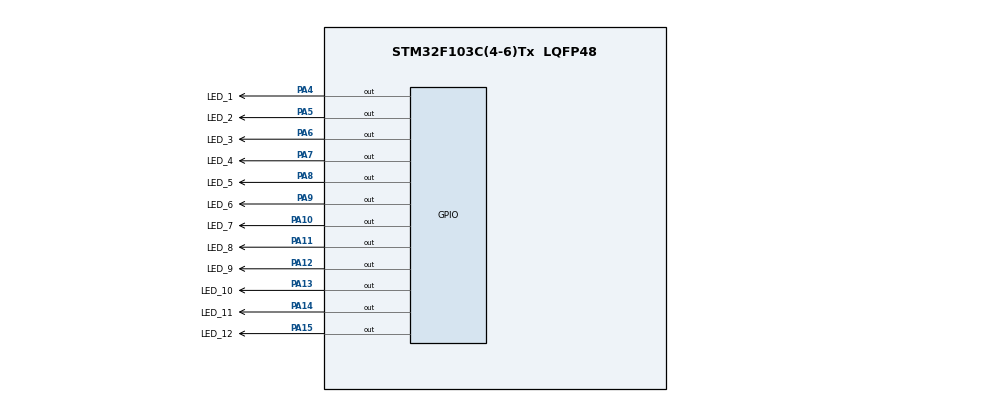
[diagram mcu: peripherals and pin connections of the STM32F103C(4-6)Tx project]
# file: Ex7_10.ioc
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Mcu.Family=STM32F1
Mcu.Name=STM32F103C(4-6)Tx
Mcu.Package=LQFP48
NVIC.PriorityGroup=NVIC_PRIORITYGROUP_4
PA10.GPIO_Label=LED_7
PA10.Signal=GPIO_Output
PA11.GPIO_Label=LED_8
PA11.Signal=GPIO_Output
PA12.GPIO_Label=LED_9
PA12.Signal=GPIO_Output
PA13.GPIO_Label=LED_10
PA13.Signal=GPIO_Output
PA14.GPIO_Label=LED_11
PA14.Signal=GPIO_Output
PA15.GPIO_Label=LED_12
PA15.Signal=GPIO_Output
PA4.GPIO_Label=LED_1
PA4.Signal=GPIO_Output
PA5.GPIO_Label=LED_2
PA5.Signal=GPIO_Output
PA6.GPIO_Label=LED_3
PA6.Signal=GPIO_Output
PA7.GPIO_Label=LED_4
PA7.Signal=GPIO_Output
PA8.GPIO_Label=LED_5
PA8.Signal=GPIO_Output
PA9.GPIO_Label=LED_6
PA9.Signal=GPIO_Output
ProjectManager.HeapSize=0x200
ProjectManager.StackSize=0x400
ProjectManager.TargetToolchain=STM32CubeIDE
RCC.APB1Freq_Value=8000000
RCC.APB2Freq_Value=8000000
VP_SYS_VS_ND.Mode=No_Debug
board=custom

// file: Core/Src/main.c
/* USER CODE BEGIN Header */
/**
  ******************************************************************************
  * @file           : main.c
  * @brief          : Main program body
  ******************************************************************************
  * @attention
  *
  * <h2><center>&copy; Copyright (c) 2025 STMicroelectronics.
  * All rights reserved.</center></h2>
  *
  * This software component is licensed by ST under BSD 3-Clause license,
  * the "License"; You may not use this file except in compliance with the
  * License. You may obtain a copy of the License at:
  *                        opensource.org/licenses/BSD-3-Clause
  *
  ******************************************************************************
  */
/* USER CODE END Header */
#include "main.h"

/* USER CODE BEGIN PV */
uint16_t led[12] =
{   LED_1_Pin,
	LED_2_Pin,
	LED_3_Pin,
	LED_4_Pin,
	LED_5_Pin,
	LED_6_Pin,
	LED_7_Pin,
	LED_8_Pin,
	LED_9_Pin,
	LED_10_Pin,
	LED_11_Pin,
	LED_12_Pin
};
/* USER CODE END PV */

void SystemClock_Config(void);
static void MX_GPIO_Init(void);

/* USER CODE BEGIN 0 */
void clearAllClock()
{
	GPIOA->ODR &= ~(0xFFF);
}
void setNumberOnClock(int num)
{

    HAL_GPIO_WritePin(GPIOA, led[num], SET);

}
void clearNumberOnClock(int num)
{
    HAL_GPIO_WritePin(GPIOA, led[num], RESET);
}
/* USER CODE END 0 */

int main(void)
{

  /* MCU Configuration--------------------------------------------------------*/

  /* Reset of all peripherals, Initializes the Flash interface and the Systick. */
  HAL_Init();

  /* Configure the system clock */
  SystemClock_Config();

  /* Initialize all configured peripherals */
  MX_GPIO_Init();

  /* Infinite loop */
  /* USER CODE BEGIN WHILE */
//6h47
  int second = 0;
  int minute = 47;
  int hour   = 3;
  setNumberOnClock(second/5);
  setNumberOnClock(minute/5);
  setNumberOnClock(hour);

  while (1)
  {
      clearNumberOnClock(minute/5);
      clearNumberOnClock(hour);
	  clearNumberOnClock(second/5);
      second++;
	  if (second >= 60) {
		  second = 0;
          minute++;

	      if ((minute)  >= 60) {
	    	  minute =  0;
	    	  hour = (hour+1)%12;
	      }
	  }

	  setNumberOnClock(hour);
	  setNumberOnClock(minute/5);
	  setNumberOnClock(second/5);
	  HAL_Delay(10);
  }
  /* USER CODE END 3 */
}

void SystemClock_Config(void)
{
  RCC_OscInitTypeDef RCC_OscInitStruct = {0};
  RCC_ClkInitTypeDef RCC_ClkInitStruct = {0};

  /** Initializes the RCC Oscillators according to the specified parameters
  * in the RCC_OscInitTypeDef structure.
  */
  RCC_OscInitStruct.OscillatorType = RCC_OSCILLATORTYPE_HSI;
  RCC_OscInitStruct.HSIState = RCC_HSI_ON;
  RCC_OscInitStruct.HSICalibrationValue = RCC_HSICALIBRATION_DEFAULT;
  RCC_OscInitStruct.PLL.PLLState = RCC_PLL_NONE;
  if (HAL_RCC_OscConfig(&RCC_OscInitStruct) != HAL_OK)
  {
    Error_Handler();
  }
  /** Initializes the CPU, AHB and APB buses clocks
  */
  RCC_ClkInitStruct.ClockType = RCC_CLOCKTYPE_HCLK|RCC_CLOCKTYPE_SYSCLK
                              |RCC_CLOCKTYPE_PCLK1|RCC_CLOCKTYPE_PCLK2;
  RCC_ClkInitStruct.SYSCLKSource = RCC_SYSCLKSOURCE_HSI;
  RCC_ClkInitStruct.AHBCLKDivider = RCC_SYSCLK_DIV1;
  RCC_ClkInitStruct.APB1CLKDivider = RCC_HCLK_DIV1;
  RCC_ClkInitStruct.APB2CLKDivider = RCC_HCLK_DIV1;

  if (HAL_RCC_ClockConfig(&RCC_ClkInitStruct, FLASH_LATENCY_0) != HAL_OK)
  {
    Error_Handler();
  }
}

static void MX_GPIO_Init(void)
{
  GPIO_InitTypeDef GPIO_InitStruct = {0};

  /* GPIO Ports Clock Enable */
  __HAL_RCC_GPIOA_CLK_ENABLE();

  /*Configure GPIO pin Output Level */
  HAL_GPIO_WritePin(GPIOA, LED_1_Pin|LED_2_Pin|LED_3_Pin|LED_4_Pin
                          |LED_5_Pin|LED_6_Pin|LED_7_Pin|LED_8_Pin
                          |LED_9_Pin|LED_10_Pin|LED_11_Pin|LED_12_Pin, GPIO_PIN_RESET);

  /*Configure GPIO pins : LED_1_Pin LED_2_Pin LED_3_Pin LED_4_Pin
                           LED_5_Pin LED_6_Pin LED_7_Pin LED_8_Pin
                           LED_9_Pin LED_10_Pin LED_11_Pin LED_12_Pin */
  GPIO_InitStruct.Pin = LED_1_Pin|LED_2_Pin|LED_3_Pin|LED_4_Pin
                          |LED_5_Pin|LED_6_Pin|LED_7_Pin|LED_8_Pin
                          |LED_9_Pin|LED_10_Pin|LED_11_Pin|LED_12_Pin;
  GPIO_InitStruct.Mode = GPIO_MODE_OUTPUT_PP;
  GPIO_InitStruct.Pull = GPIO_NOPULL;
  GPIO_InitStruct.Speed = GPIO_SPEED_FREQ_LOW;
  HAL_GPIO_Init(GPIOA, &GPIO_InitStruct);

}

void Error_Handler(void)
{
  __disable_irq();
  while (1)
  {
  }
}

/************************ (C) COPYRIGHT STMicroelectronics *****END OF FILE****/
